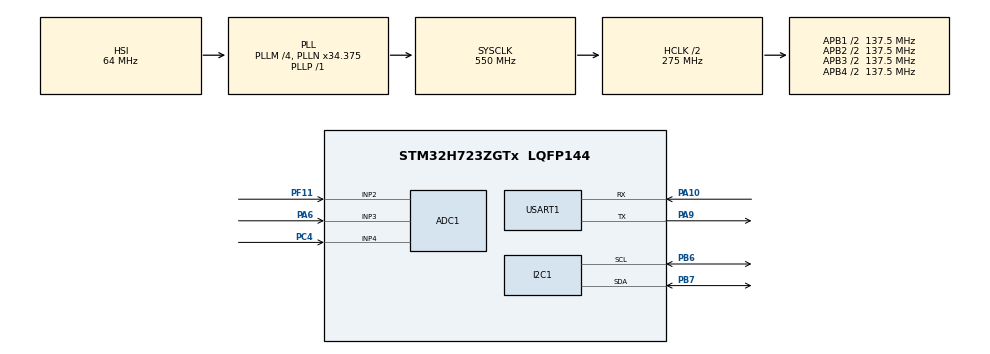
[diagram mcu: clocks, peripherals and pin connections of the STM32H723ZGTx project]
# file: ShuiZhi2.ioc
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ADC1.Channel-0\#ChannelRegularConversion=ADC_CHANNEL_2
ADC1.NbrOfConversionFlag=1
ADC1.OffsetNumber-0\#ChannelRegularConversion=ADC_OFFSET_NONE
ADC1.OffsetSignedSaturation-0\#ChannelRegularConversion=DISABLE
ADC1.Rank-0\#ChannelRegularConversion=1
ADC1.SamplingTime-0\#ChannelRegularConversion=ADC_SAMPLETIME_1CYCLE_5
ADC1.master=1
CORTEX_M7.default_mode_Activation=1
I2C1.Timing=0x60404E72
Mcu.Family=STM32H7
Mcu.Name=STM32H723ZGTx
Mcu.Package=LQFP144
NVIC.PriorityGroup=NVIC_PRIORITYGROUP_4
NVIC.USART1_IRQn=true\:0\:0\:false\:false\:true\:true\:true\:true
PA10.GPIO_Speed=GPIO_SPEED_FREQ_VERY_HIGH
PA10.Mode=Asynchronous
PA10.Signal=USART1_RX
PA6.Signal=ADCx_INP3
PA9.GPIO_Speed=GPIO_SPEED_FREQ_VERY_HIGH
PA9.Mode=Asynchronous
PA9.Signal=USART1_TX
PB6.GPIO_Speed=GPIO_SPEED_FREQ_VERY_HIGH
PB6.Mode=I2C
PB6.Signal=I2C1_SCL
PB7.GPIO_Speed=GPIO_SPEED_FREQ_VERY_HIGH
PB7.Mode=I2C
PB7.Signal=I2C1_SDA
PC14-OSC32_IN.Mode=LSE-External-Oscillator
PC14-OSC32_IN.Signal=RCC_OSC32_IN
PC15-OSC32_OUT.Mode=LSE-External-Oscillator
PC15-OSC32_OUT.Signal=RCC_OSC32_OUT
PC4.Signal=ADCx_INP4
PF11.Mode=IN2-Single-Ended
PF11.Signal=ADC1_INP2
PH0-OSC_IN.Mode=HSE-External-Oscillator
PH0-OSC_IN.Signal=RCC_OSC_IN
PH1-OSC_OUT.Mode=HSE-External-Oscillator
PH1-OSC_OUT.Signal=RCC_OSC_OUT
ProjectManager.HeapSize=0x200
ProjectManager.StackSize=0x400
ProjectManager.TargetToolchain=MDK-ARM V5.32
RCC.ADCFreq_Value=96000000
RCC.APB1Freq_Value=137500000
RCC.APB2Freq_Value=137500000
RCC.APB3Freq_Value=137500000
RCC.APB4Freq_Value=137500000
RCC.CortexFreq_Value=550000000
RCC.D1PPRE=RCC_APB3_DIV2
RCC.D2PPRE1=RCC_APB1_DIV2
RCC.D2PPRE2=RCC_APB2_DIV2
RCC.D3PPRE=RCC_APB4_DIV2
RCC.DIVM1=4
RCC.DIVM2=4
RCC.DIVN1=34
RCC.DIVN2=12
RCC.DIVP1=1
RCC.HCLKFreq_Value=275000000
RCC.HPRE=RCC_HCLK_DIV2
RCC.PLL2FRACN=0
RCC.PLL3FRACN=0
RCC.PLLFRACN=3072
RCC.SYSCLKFreq_VALUE=550000000
RCC.SYSCLKSource=RCC_SYSCLKSOURCE_PLLCLK
RCC.USBFreq_Value=275000000
SH.ADCx_INP3.0=ADC1_INP3,IN3-Single-Ended
SH.ADCx_INP4.0=ADC1_INP4,IN4-Single-Ended
TIM7.Period=1000
TIM7.Prescaler=550-1
USART1.VirtualMode-Asynchronous=VM_ASYNC
VP_MEMORYMAP_VS_MEMORYMAP.Mode=CurAppReg
VP_TIM7_VS_ClockSourceINT.Mode=Enable_Timer
board=custom

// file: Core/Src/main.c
/* USER CODE BEGIN Header */
/**
 ******************************************************************************
 * @file           : main.c
 * @brief          : Main program body
 ******************************************************************************
 * @attention
 *
 * Copyright (c) 2026 STMicroelectronics.
 * All rights reserved.
 *
 * This software is licensed under terms that can be found in the LICENSE file
 * in the root directory of this software component.
 * If no LICENSE file comes with this software, it is provided AS-IS.
 *
 ******************************************************************************
 */
/* USER CODE END Header */
#include "main.h"
#include "adc.h"
#include "i2c.h"
#include "tim.h"
#include "usart.h"
#include "gpio.h"

/* USER CODE BEGIN Includes */
#include <stdio.h>
#include "PH.h"
#include "aht20_bmp280.h"
#include "My_Debug.h"
#include "ZhuoDu.h"
#include "TDS.h"
#include "Ds18B20.h"
/* USER CODE END Includes */

void SystemClock_Config(void);
static void MPU_Config(void);

int main(void)
{

  /* MPU Configuration--------------------------------------------------------*/
  MPU_Config();

  /* MCU Configuration--------------------------------------------------------*/

  /* Reset of all peripherals, Initializes the Flash interface and the Systick. */
  HAL_Init();

  /* Configure the system clock */
  SystemClock_Config();

  /* Initialize all configured peripherals */
  MX_GPIO_Init();
  MX_ADC1_Init();
  MX_USART1_UART_Init();
  MX_I2C1_Init();
  MX_TIM7_Init();
  /* USER CODE BEGIN 2 */
  uint32_t aht20_data[2];
  float pressure, temperature, altitude;

  // 初始化AHT20
  if (AHT20_Init(&hi2c1) == 0)
  {
    // 初始化失败处理
    Error_Handler();
  }

  // 初始化BMP280
  if (BMP280_Init(&hi2c1) != 0x58)
  {
    // 初始化失败处理
    Error_Handler();
  }

  ZhuoDu_Init(&hadc1);

  // 初始化TDS传感器
  if (TDS_Init(&hadc1) != 0)
  {
    // 初始化失败处理
    Error_Handler();
  }

  // 初始化DS18B20水温传感器
  uint8_t ds18b20_init_result = DS18B20_Init();
  if (ds18b20_init_result != 0)
  {
    printf("DS18B20 Init Failed! Result: %d\r\n", ds18b20_init_result);
    Error_Handler();
  }
  else
  {
    printf("DS18B20 Init Success!\r\n");
  }

  printf("====== Water Temperature System Started ======\r\n");
  /* USER CODE END 2 */

  /* Infinite loop */
  while (1)
  {

    /* USER CODE BEGIN 3 */
    // 读取所有传感器数据
    float ph_val = PH_Read_Median();
    float turb_vol = ZhuoDu_Read_Voltage();
    float turb_ntu = ZhuoDu_Read_NTU();
    float tds_corrected = TDS_Read_Corrected();
    float tds_raw = TDS_Read_Raw();
    float water_temp = DS18B20_Get_Temp();

    // 读取AHT20数据
    AHT20_Read_CTdata(&hi2c1, aht20_data);
    int humidity = aht20_data[0] * 1000 / 1024 / 1024;
    int temp = aht20_data[1] * 200 * 10 / 1024 / 1024 - 500;

    // 读取BMP280数据
    BMP280GetData(&hi2c1, &pressure, &temperature, &altitude);

    // ===== 整合显示 =====
    printf("\r\n");
    printf("+----------------------------------------+\r\n");
    printf("|  Water Quality & Temperature Monitor   |\r\n");
    printf("+----------------------------------------+\r\n");
    printf("| Water Temperature (DS18B20): %.2f C    |\r\n", water_temp);
    printf("|----------------------------------------|\r\n");
    printf("| pH Value:              %.2f            |\r\n", ph_val);
    printf("| Turbidity:             %.2f NTU        |\r\n", turb_ntu);
    printf("| Turbidity Voltage:     %.2f V          |\r\n", turb_vol);
    printf("| TDS (Corrected):       %.2f ppm        |\r\n", tds_corrected);
    printf("| TDS (Raw):             %.2f ppm        |\r\n", tds_raw);
    printf("|----------------------------------------|\r\n");
    printf("| Humidity (AHT20):      %d.%d%%         |\r\n", humidity / 10, humidity % 10);
    printf("| Temperature (AHT20):   %d.%d C         |\r\n", temp / 10, temp % 10);
    printf("| Pressure (BMP280):     %.2f hPa        |\r\n", pressure);
    printf("| Altitude (BMP280):     %.2f m          |\r\n", altitude);
    printf("+----------------------------------------+\r\n");

    HAL_Delay(1000);
  }

  /* USER CODE END 3 */
}

void SystemClock_Config(void)
{
  RCC_OscInitTypeDef RCC_OscInitStruct = {0};
  RCC_ClkInitTypeDef RCC_ClkInitStruct = {0};

  /** Supply configuration update enable
  */
  HAL_PWREx_ConfigSupply(PWR_LDO_SUPPLY);

  /** Configure the main internal regulator output voltage
  */
  __HAL_PWR_VOLTAGESCALING_CONFIG(PWR_REGULATOR_VOLTAGE_SCALE0);

  while(!__HAL_PWR_GET_FLAG(PWR_FLAG_VOSRDY)) {}

  /** Initializes the RCC Oscillators according to the specified parameters
  * in the RCC_OscInitTypeDef structure.
  */
  RCC_OscInitStruct.OscillatorType = RCC_OSCILLATORTYPE_HSI;
  RCC_OscInitStruct.HSIState = RCC_HSI_DIV1;
  RCC_OscInitStruct.HSICalibrationValue = 64;
  RCC_OscInitStruct.PLL.PLLState = RCC_PLL_ON;
  RCC_OscInitStruct.PLL.PLLSource = RCC_PLLSOURCE_HSI;
  RCC_OscInitStruct.PLL.PLLM = 4;
  RCC_OscInitStruct.PLL.PLLN = 34;
  RCC_OscInitStruct.PLL.PLLP = 1;
  RCC_OscInitStruct.PLL.PLLQ = 2;
  RCC_OscInitStruct.PLL.PLLR = 2;
  RCC_OscInitStruct.PLL.PLLRGE = RCC_PLL1VCIRANGE_3;
  RCC_OscInitStruct.PLL.PLLVCOSEL = RCC_PLL1VCOWIDE;
  RCC_OscInitStruct.PLL.PLLFRACN = 3072;
  if (HAL_RCC_OscConfig(&RCC_OscInitStruct) != HAL_OK)
  {
    Error_Handler();
  }

  /** Initializes the CPU, AHB and APB buses clocks
  */
  RCC_ClkInitStruct.ClockType = RCC_CLOCKTYPE_HCLK|RCC_CLOCKTYPE_SYSCLK
                              |RCC_CLOCKTYPE_PCLK1|RCC_CLOCKTYPE_PCLK2
                              |RCC_CLOCKTYPE_D3PCLK1|RCC_CLOCKTYPE_D1PCLK1;
  RCC_ClkInitStruct.SYSCLKSource = RCC_SYSCLKSOURCE_PLLCLK;
  RCC_ClkInitStruct.SYSCLKDivider = RCC_SYSCLK_DIV1;
  RCC_ClkInitStruct.AHBCLKDivider = RCC_HCLK_DIV2;
  RCC_ClkInitStruct.APB3CLKDivider = RCC_APB3_DIV2;
  RCC_ClkInitStruct.APB1CLKDivider = RCC_APB1_DIV2;
  RCC_ClkInitStruct.APB2CLKDivider = RCC_APB2_DIV2;
  RCC_ClkInitStruct.APB4CLKDivider = RCC_APB4_DIV2;

  if (HAL_RCC_ClockConfig(&RCC_ClkInitStruct, FLASH_LATENCY_3) != HAL_OK)
  {
    Error_Handler();
  }
}

 /* MPU Configuration */

void MPU_Config(void)
{
  MPU_Region_InitTypeDef MPU_InitStruct = {0};

  /* Disables the MPU */
  HAL_MPU_Disable();

  /** Initializes and configures the Region and the memory to be protected
  */
  MPU_InitStruct.Enable = MPU_REGION_ENABLE;
  MPU_InitStruct.Number = MPU_REGION_NUMBER0;
  MPU_InitStruct.BaseAddress = 0x0;
  MPU_InitStruct.Size = MPU_REGION_SIZE_4GB;
  MPU_InitStruct.SubRegionDisable = 0x87;
  MPU_InitStruct.TypeExtField = MPU_TEX_LEVEL0;
  MPU_InitStruct.AccessPermission = MPU_REGION_NO_ACCESS;
  MPU_InitStruct.DisableExec = MPU_INSTRUCTION_ACCESS_DISABLE;
  MPU_InitStruct.IsShareable = MPU_ACCESS_SHAREABLE;
  MPU_InitStruct.IsCacheable = MPU_ACCESS_NOT_CACHEABLE;
  MPU_InitStruct.IsBufferable = MPU_ACCESS_NOT_BUFFERABLE;

  HAL_MPU_ConfigRegion(&MPU_InitStruct);
  /* Enables the MPU */
  HAL_MPU_Enable(MPU_PRIVILEGED_DEFAULT);

}

void Error_Handler(void)
{
  __disable_irq();
  while (1)
  {
  }
}
